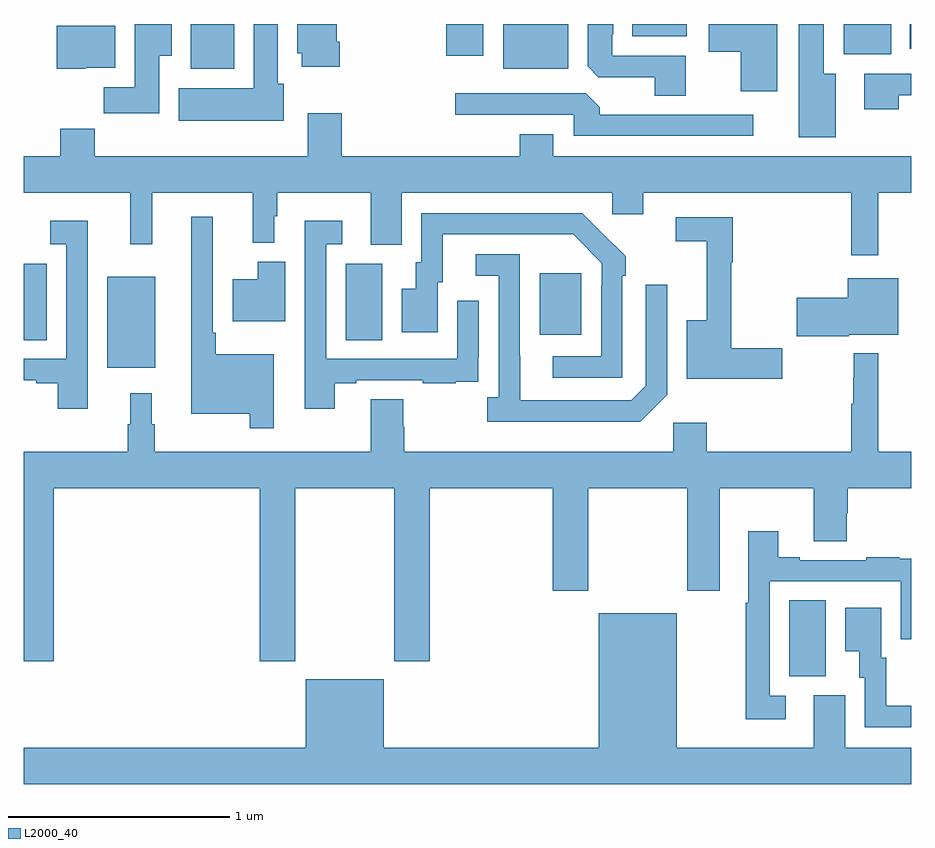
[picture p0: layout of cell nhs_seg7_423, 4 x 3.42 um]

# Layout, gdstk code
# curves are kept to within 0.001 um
import gdstk
lib = gdstk.Library(unit=1e-6, precision=1e-09)
def R(c, l, rs):  # rectangles x0, y0, x1, y1
    for r in rs: c.add(gdstk.rectangle(r[:2], r[2:], *l))
def P(c, l, *ps):  # polygons
    for p in ps: c.add(gdstk.Polygon(p, *l))
L2000_40 = (2000, 40)

nhs_seg7_423 = lib.new_cell('nhs_seg7_423')
R(nhs_seg7_423, L2000_40, [(146.45,1041.061,146.614,1041.404), (143.378,1042.451,143.593,1042.861), (143,1042.576,143.104,1042.92), (144.452,1042.576,144.616,1042.92), (145.325,1042.601,145.513,1042.876), (143.753,1043.798,143.949,1044), (145.16,1043.798,145.453,1044), (144.905,1043.856,145.072,1044), (146.696,1043.864,146.908,1044), (146.993,1043.888,147,1044), (145.742,1043.945,145.987,1044)])
P(nhs_seg7_423, L2000_40, [(146.395,1044),(146.088,1044),(146.088,1043.876),(146.231,1043.876),(146.231,1043.697),(146.395,1043.697)],
  [(146.659,1043.776),(146.605,1043.776),(146.605,1044),(146.492,1044),(146.492,1043.49),(146.659,1043.49)],
  [(144.425,1043.92),(144.412,1043.92),(144.412,1044),(144.233,1044),(144.233,1043.868),(144.254,1043.868),(144.254,1043.808),(144.425,1043.808)],
  [(144.172,1043.73),(144.145,1043.73),(144.145,1044),(144.038,1044),(144.038,1043.71),(143.699,1043.71),(143.699,1043.564),(144.172,1043.564)],
  [(143.611,1043.857),(143.668,1043.857),(143.668,1044),(143.501,1044),(143.501,1043.716),(143.362,1043.716),(143.362,1043.598),(143.611,1043.598)],
  [(145.984,1043.856),(145.653,1043.856),(145.653,1043.953),(145.657,1043.953),(145.657,1044),(145.541,1044),(145.541,1043.809),(145.59,1043.76),(145.844,1043.76),(145.844,1043.677),(145.984,1043.677)],
  [(143.28,1043.804),(143.413,1043.804),(143.413,1043.992),(143.15,1043.992),(143.15,1043.798),(143.28,1043.798)],
  [(146.943,1043.679),(147,1043.679),(147,1043.775),(146.787,1043.775),(146.787,1043.616),(146.943,1043.616)],
  [(146.287,1043.592),(145.595,1043.592),(145.595,1043.626),(145.533,1043.688),(144.945,1043.688),(144.945,1043.592),(145.479,1043.592),(145.479,1043.496),(146.287,1043.496)],
  [(146.851,1043.24),(147,1043.24),(147,1043.404),(145.387,1043.404),(145.387,1043.503),(145.235,1043.503),(145.235,1043.404),(144.434,1043.404),(144.434,1043.599),(144.281,1043.599),(144.281,1043.404),(143.321,1043.404),(143.321,1043.528),(143.165,1043.528),(143.165,1043.404),(143,1043.404),(143,1043.24),(143.48,1043.24),(143.48,1043.007),(143.579,1043.007),(143.579,1043.24),(144.032,1043.24),(144.032,1043.015),(144.13,1043.015),(144.13,1043.133),(144.142,1043.133),(144.142,1043.24),(144.563,1043.24),(144.563,1043.005),(144.703,1043.005),(144.703,1043.24),(145.653,1043.24),(145.653,1043.142),(145.792,1043.142),(145.792,1043.24),(146.73,1043.24),(146.73,1042.959),(146.851,1042.959)],
  [(145.698,1042.865),(145.713,1042.865),(145.713,1042.953),(145.516,1043.148),(144.792,1043.148),(144.792,1042.926),(144.767,1042.926),(144.767,1042.807),(144.704,1042.807),(144.704,1042.611),(144.865,1042.611),(144.865,1042.836),(144.889,1042.836),(144.889,1043.052),(145.477,1043.052),(145.605,1042.923),(145.605,1042.823),(145.602,1042.823),(145.602,1042.503),(145.383,1042.503),(145.383,1042.407),(145.698,1042.407)],
  [(144.126,1042.513),(143.866,1042.513),(143.866,1042.609),(143.853,1042.609),(143.853,1043.131),(143.756,1043.131),(143.756,1042.244),(144.018,1042.244),(144.018,1042.179),(144.126,1042.179)],
  [(146.419,1042.539),(146.188,1042.539),(146.188,1042.927),(146.195,1042.927),(146.195,1043.13),(145.938,1043.13),(145.938,1043.022),(146.078,1043.022),(146.078,1042.666),(145.988,1042.666),(145.988,1042.402),(146.419,1042.402)],
  [(144.403,1042.382),(144.499,1042.382),(144.499,1042.395),(144.799,1042.395),(144.799,1042.382),(144.947,1042.382),(144.947,1042.389),(145.049,1042.389),(145.049,1042.498),(145.05,1042.498),(145.05,1042.753),(144.954,1042.753),(144.954,1042.491),(144.363,1042.491),(144.363,1043.007),(144.436,1043.007),(144.436,1043.113),(144.267,1043.113),(144.267,1042.488),(144.266,1042.488),(144.266,1042.266),(144.403,1042.266)],
  [(143.289,1043.113),(143.121,1043.113),(143.121,1043.007),(143.193,1043.007),(143.193,1042.491),(143,1042.491),(143,1042.395),(143.057,1042.395),(143.057,1042.382),(143.153,1042.382),(143.153,1042.266),(143.289,1042.266)],
  [(145.899,1042.329),(145.899,1042.825),(145.803,1042.825),(145.803,1042.371),(145.737,1042.305),(145.237,1042.305),(145.236,1042.962),(145.038,1042.962),(145.038,1042.866),(145.14,1042.866),(145.14,1042.318),(145.089,1042.318),(145.089,1042.208),(145.778,1042.208)],
  [(144.178,1042.93),(144.056,1042.93),(144.056,1042.849),(143.942,1042.849),(143.942,1042.661),(144.178,1042.661)],
  [(146.718,1042.601),(146.941,1042.601),(146.941,1042.855),(146.714,1042.855),(146.714,1042.767),(146.484,1042.767),(146.484,1042.594),(146.718,1042.594)],
  [(143.135,1041.908),(144.065,1041.908),(144.065,1041.129),(144.225,1041.129),(144.225,1041.908),(144.67,1041.908),(144.67,1041.129),(144.83,1041.129),(144.83,1041.908),(145.385,1041.908),(145.385,1041.447),(145.545,1041.447),(145.545,1041.908),(145.99,1041.908),(145.99,1041.447),(146.137,1041.447),(146.137,1041.908),(146.561,1041.908),(146.561,1041.67),(146.709,1041.67),(146.709,1041.795),(146.714,1041.795),(146.714,1041.908),(147,1041.908),(147,1042.072),(146.851,1042.072),(146.851,1042.516),(146.741,1042.516),(146.741,1042.409),(146.737,1042.409),(146.737,1042.289),(146.73,1042.289),(146.73,1042.072),(146.078,1042.072),(146.078,1042.204),(145.926,1042.204),(145.926,1042.072),(144.716,1042.072),(144.716,1042.185),(144.711,1042.185),(144.711,1042.31),(144.563,1042.31),(144.563,1042.072),(143.59,1042.072),(143.59,1042.196),(143.578,1042.196),(143.578,1042.336),(143.48,1042.336),(143.48,1042.196),(143.469,1042.196),(143.469,1042.072),(143,1042.072),(143,1041.129),(143.135,1041.129)],
  [(146.434,1040.973),(146.361,1040.973),(146.361,1041.489),(146.952,1041.489),(146.952,1041.228),(147,1041.228),(147,1041.591),(146.945,1041.591),(146.945,1041.598),(146.797,1041.598),(146.797,1041.585),(146.497,1041.585),(146.497,1041.598),(146.401,1041.598),(146.401,1041.715),(146.265,1041.715),(146.265,1041.392),(146.253,1041.392),(146.253,1040.868),(146.434,1040.868)],
  [(147,1040.928),(146.887,1040.928),(146.887,1041.144),(146.863,1041.144),(146.863,1041.37),(146.702,1041.37),(146.702,1041.173),(146.765,1041.173),(146.765,1041.054),(146.79,1041.054),(146.79,1040.832),(147,1040.832)],
  [(147,1040.74),(146.701,1040.74),(146.701,1040.976),(146.561,1040.976),(146.561,1040.74),(145.942,1040.74),(145.942,1041.346),(145.592,1041.346),(145.592,1040.74),(144.622,1040.74),(144.622,1041.049),(144.272,1041.049),(144.272,1040.74),(143,1040.74),(143,1040.576),(147,1040.576)])

lib.write_gds('nhs_seg7_423.gds')
